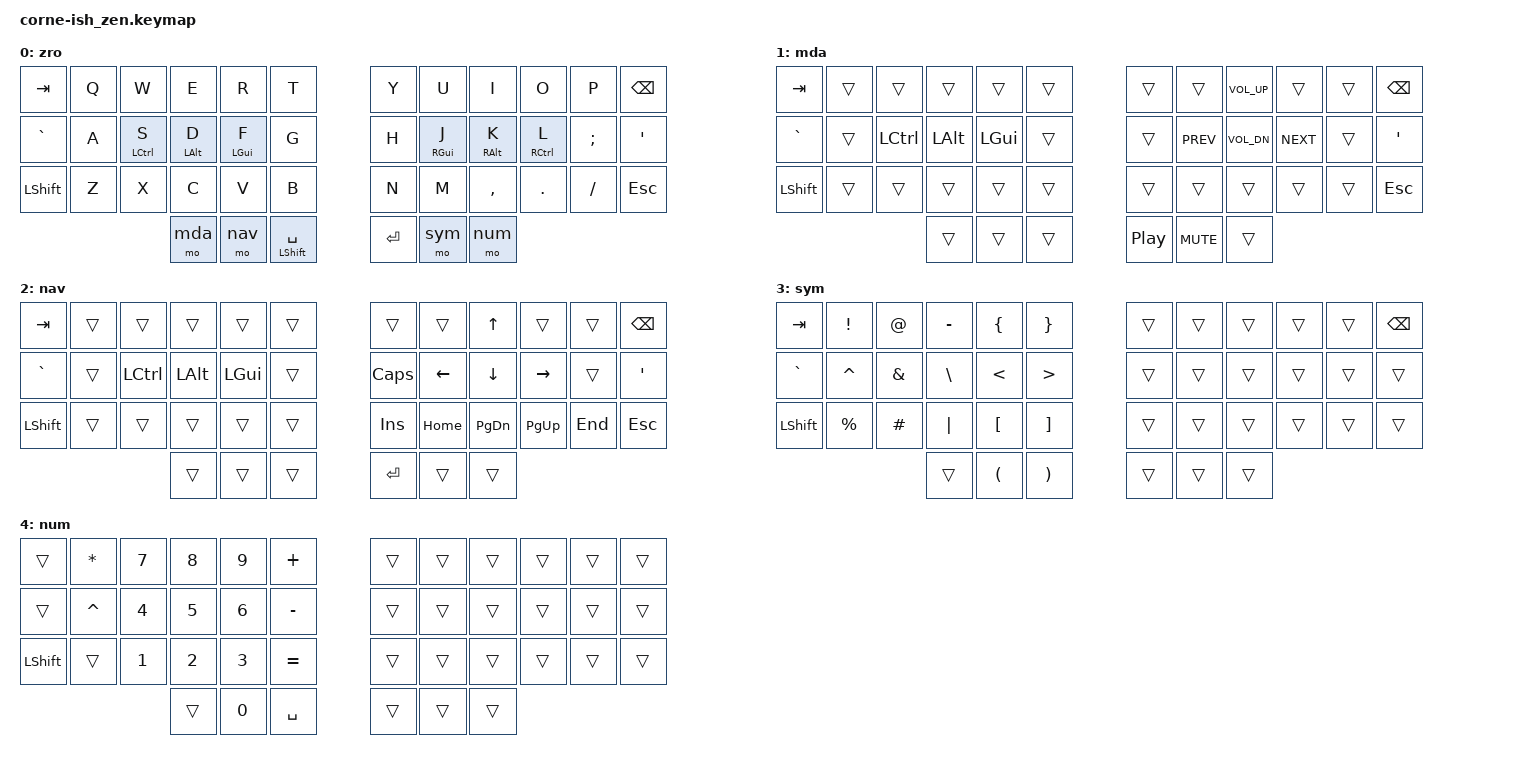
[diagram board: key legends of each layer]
/*
*
* Copyright (c) 2021 Darryl deHaan
* SPDX-License-Identifier: MIT
*
*/

#include <behaviors.dtsi>
#include <dt-bindings/zmk/keys.h>
#include <dt-bindings/zmk/bt.h>

// extra config and definitions
&mt {
    tapping-term-ms = <201>;
    flavor = "tap-preferred";
};

/ {
    conditional_layers {
        compatible = "zmk,conditional-layers";
        tri_layer {
            if-layers = <1 2>;
            then-layer = <5>;
        };
    };
};

// layers
#define zro 0
#define mda 1
#define nav 2
#define sym 3
#define num 4
#define blt 5

/ {
        keymap {
                compatible = "zmk,keymap";

                zro {
                        label = "zro";
// -----------------------------------------------------------------------------------------
// |  TAB |  Q  |  W  |  E  |  R  |  T  |                            |  Y  |  U   |  I  |  O  |  P  | BKSP |
// |  `   |  A  |  S  |  D  |  F  |  G  |                            |  H  |  J   |  K  |  L  |  ;  |  '   |
// | SHFT |  Z  |  X  |  C  |  V  |  B  |                            |  N  |  M   |  ,  |  .  |  /  | ESC  |
//                    | nav | mda | SPC |                            | ENT | sym | num |
                        bindings = <
   &kp TAB   &kp Q &kp W       &kp E      &kp R      &kp T             &kp Y   &kp U       &kp I       &kp O        &kp P    &kp BSPC
   &kp GRAVE &kp A &mt LCTRL S &mt LALT D &mt LGUI F &kp G             &kp H   &mt RGUI J  &mt RALT K  &mt RCTRL L  &kp SEMI &kp SQT
   &kp LSHFT &kp Z &kp X       &kp C      &kp V      &kp B             &kp N   &kp M       &kp COMMA   &kp DOT      &kp FSLH &kp ESC
                               &mo mda    &mo nav    &mt LSHIFT SPACE  &kp RET &mo sym     &mo num
                        >;
                };

                mda {
                        label = "mda";
// -----------------------------------------------------------------------------------------
// |  TAB |     |     |     |     |     |                            |        |          |          |        |     |     |
// |      |     | ALT | CTRL| CMD |     |                            | C_PREV | C_VOL_DN | C_VOL_UP | C_NEXT |     |     |
// |      |     |     |     |     |     |                            |        |          |          |        |     |     |
//                    |     |     |     |                            |  C_PP  |  K_MUTE  |          |
                        bindings = <
   &kp TAB   &trans  &trans     &trans    &trans       &trans         &trans    &trans      &kp C_VOL_UP  &trans        &trans      &kp BSPC
   &kp GRAVE &trans  &kp LCTRL  &kp LALT  &kp LGUI     &trans         &trans    &kp C_PREV  &kp C_VOL_DN  &kp C_NEXT    &trans      &kp SQT
   &kp LSHFT &trans  &trans     &trans    &trans       &trans         &trans    &trans      &trans        &trans        &trans      &kp ESC
                               &trans    &trans       &trans         &kp C_PP  &kp K_MUTE  &trans
                        >;
                };

                nav {
                        label = "nav";
// -----------------------------------------------------------------------------------------
// |  TAB |     |     |     |     |     |                            |C_AC_REDO|C_AC_PASTE|C_AC_COPY|C_AC_CUT |C_AC_UNDO|  |
// |      |     | ALT | CTRL| CMD |     |                            |   CAPS  |   LEFT   |   DOWN  |    UP   |  RIGHT  |  |
// |      |     |     |     |     |     |                            |  INSERT |   HOME   |PAGE_DOWN| PAGE_UP |   END   |  |
//                    |     |     |     |                            |   RET   |   BSPC   |   DEL   |
                        bindings = <
   &kp TAB   &trans  &trans     &trans    &trans    &trans            &trans         &trans          &kp UP         &trans        &trans         &kp BSPC
   &kp GRAVE &trans  &kp LCTRL  &kp LALT  &kp LGUI  &trans            &kp CAPS       &kp LEFT        &kp DOWN       &kp RIGHT     &trans         &kp SQT
   &kp LSHFT &trans  &trans     &trans    &trans    &trans            &kp INSERT     &kp HOME        &kp PAGE_DOWN  &kp PAGE_UP   &kp END        &kp ESC
                               &trans    &trans    &trans            &kp RET        &trans          &trans
                        >;
                };

                sym {
                        label = "sym";
// -----------------------------------------------------------------------------------------
// |  TAB |  !  |  @  |  -  |  {  |  }  |                            |     |     |     |     |     |      |
// |  `   |  ^  |  &  |  \  |  <  |  >  |                            |     |     |     |     |     |      |
// | SHFT |  %  |  #  | "|" |  [  |  ]  |                            |     |     |     |     |     |      |
//                    |     |  (  |  )  |                            |     |     |     |
                        bindings = <
   &kp TAB    &kp EXCL   &kp AT    &kp MINUS  &kp LBRC  &kp RBRC     &trans &trans &trans &trans &trans &kp BSPC
   &kp GRAVE  &kp CARET  &kp AMPS  &kp BSLH   &kp LT    &kp GT       &trans &trans &trans &trans &trans &trans
   &kp LSHFT  &kp PRCNT  &kp HASH  &kp PIPE   &kp LBKT  &kp RBKT     &trans &trans &trans &trans &trans &trans
                         &trans    &kp LPAR   &kp RPAR               &trans &trans &trans
                        >;
                };

                num {
                        label = "num";
// -----------------------------------------------------------------------------------------
// |      |  *  |  7  |  8  |  9  |PLUS |                            |         |         |         |         |         |  |
// |      |  ^  |  4  |  5  |  6  |MINUS|                            |         |         |         |         |         |  |
// |LSHFT |     |  1  |  2  |  3  |EQUAL|                            |         |         |         |         |         |  |
//                    |     |  N0 |SPACE|                            |         |         |         |
                        bindings = <
   &trans    &kp STAR   &kp N7  &kp N8  &kp N9  &kp PLUS             &trans &trans &trans &trans &trans &trans
   &trans    &kp CARET  &kp N4  &kp N5  &kp N6  &kp MINUS            &trans &trans &trans &trans &trans &trans
   &kp LSHFT &trans     &kp N1  &kp N2  &kp N3  &kp EQUAL            &trans &trans &trans &trans &trans &trans
                                &trans  &kp N0  &kp SPACE            &trans &trans &trans
                        >;
                };

//                 blt {
//                         label = "blt";
// // -----------------------------------------------------------------------------------------
// // |      |  *  |  7  |  8  |  9  |PLUS |                            |         |         |         |         |         |  |
// // |      |  ^  |  4  |  5  |  6  |MINUS|                            |         |         |         |         |         |  |
// // |LSHFT |     |  1  |  2  |  3  |EQUAL|                            |         |         |         |         |         |  |
// //                    |     |  N0 |SPACE|                            |         |         |         |
//                         bindings = <
//    &bootloader &trans &trans &trans &trans &trans            &trans &trans     &trans &trans &bt BT_CLR  &bootloader
//    &trans      &trans &trans &trans &trans &trans            &trans &bt BT_NXT &trans &trans &bt BT_PRV  &trans
//    &trans      &trans &trans &trans &trans &trans            &trans &trans     &trans &trans &trans      &trans
//                              &trans &trans &trans            &trans &trans     &trans
//                         >;
//                 };

        };
};      
